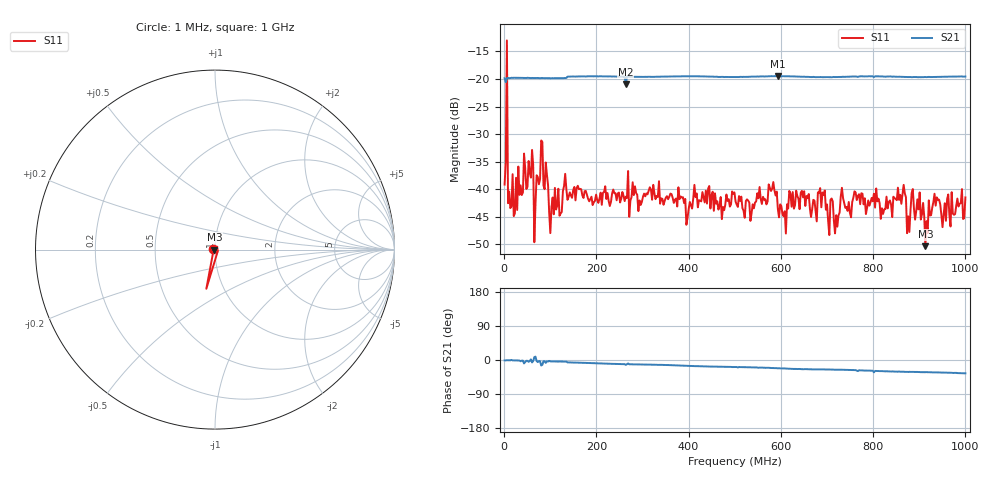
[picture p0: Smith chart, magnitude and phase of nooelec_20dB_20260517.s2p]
# HZ S RI R 50
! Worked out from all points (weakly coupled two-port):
!   404 points, 1 MHz to 1 GHz, reference 50 ohm
!   highest |S21| = -19.48 dB at 593.5 MHz (marker M1); lowest = -21.0 dB at 263.8 MHz (marker M2)
!   lowest |S11| = -50.3 dB at 913.2 MHz (marker M3), VSWR 1.01, Z = 49.7 + j0.0441 ohm
!   |S11| at or under -10 dB: start of sweep to end of sweep
!   S12 and S22 are empty: the file has one direction only
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1000000  -0.011 0.00121  0.1016 -0.00174  0 0  0 0
1.835236e7  -0.00393 0.0131  0.1023 -0.00165  0 0  0 0
5.801488e7  -0.0112 0.00611  0.1018 0.00286  0 0  0 0
7.040942e7  -0.0129 -0.0035  0.1019 -0.00502  0 0  0 0
8.528287e7  -0.0101 0.00398  0.1015 -0.00558  0 0  0 0
1.026352e8  -0.00654 0.00219  0.1015 -0.00666  0 0  0 0
1.695657e8  -0.00852 0.00219  0.1048 -0.0136  0 0  0 0
2.637642e8  -0.00802 0.00302  0.0874 -0.0199  0 0  0 0
3.356526e8  -0.0112 0.00386  0.1021 -0.0231  0 0  0 0
5.017394e8  -0.00775 0.00015  0.0986 -0.033  0 0  0 0
5.785856e8  -0.00958 0.00128  0.0989 -0.0381  0 0  0 0
5.93459e8  -0.00394 0.00529  0.0985 -0.0396  0 0  0 0
6.678263e8  -0.00657 0.000765  0.0946 -0.0435  0 0  0 0
6.901364e8  -0.00895 0.00273  0.0943 -0.0435  0 0  0 0
7.198833e8  -0.00499 0.00301  0.0939 -0.045  0 0  0 0
7.347568e8  -0.00801 0.00233  0.0941 -0.046  0 0  0 0
8.339131e8  -0.00755 0.00139  0.091 -0.053  0 0  0 0
8.661389e8  -0.00895 0.00636  0.0893 -0.0539  0 0  0 0
8.760545e8  -0.00287 0.00491  0.0887 -0.0545  0 0  0 0
9.132381e8  -0.00302 0.000444  0.0883 -0.0555  0 0  0 0
9.355483e8  -0.00702 0.0011  0.0879 -0.0564  0 0  0 0
9.999999e8  -0.00779 0.00327  0.086 -0.0607  0 0  0 0
